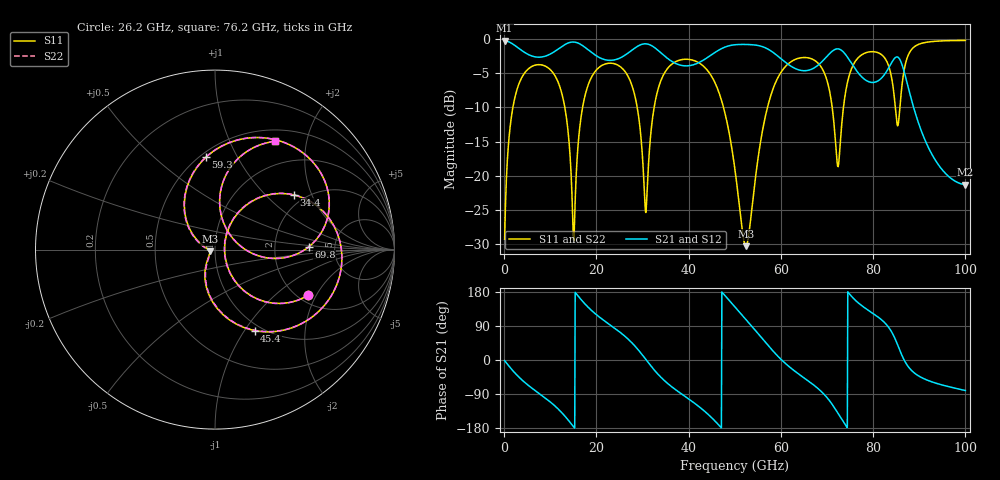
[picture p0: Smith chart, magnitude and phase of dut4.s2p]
! Touchstone file exported from HFSS 2026.1.0
!  File:  C:/ffzhzh/LocalFiles/Ansys_Project_Files/temp_train_TSV_RDL_4_1783611487_29156.aedt
!  Generated:  11:46:29 PM Jul  9, 2026
!  Design:  TSV_RDL
!  Project:  temp_train_TSV_RDL_4_1783611487_29156
! Variables:
!  h_bsmrdl = 2.89um
!  h_ox = 20um
!  h_rdl = 5um
!  h_sub = 83.83um
!  h_tmrdl = 4.26um
!  h_tsv = 83.83um
!  h_via = 3um
!  l_bsmrdl = 644.89um
!  l_sub = 3722.96um
!  l_tmrdl = 328.33um
!  m_sub = 200um
!  pitch = 57.4um
!  r_tsv = 12.32um
!  s_tmrdl = 10um
!  w_bsmrdl = 11.63um
!  w_sub = 500um
!  w_tmrdl = 13.36um
!  x_tsv_center1 = 335.01um
!  x_tsv_center2 = 991.53um
!  x_tsv_center3 = 1333.22um
!  x_tsv_center4 = 1989.74um
!  x_tsv_center5 = 2331.43um
!  x_tsv_center6 = 2987.95um
# GHz S MA R 50.000000
! Terminal data exported
! Port[1] = TM_RDL1_1_T1
! Port[2] = TM_RDL5_1_T1
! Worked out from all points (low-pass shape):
!   1000 points, 100 MHz to 100 GHz, reference 50 ohm
!   highest |S21| = -0.26 dB at 100 MHz (marker M1); lowest = -21.3 dB at 100 GHz (marker M2)
!   |S21| within 3 dB of the highest: start of sweep to 36.28 GHz; 42.8 GHz to 60.69 GHz (17.89 GHz wide, 34.6 % of centre) (the widest 2 of 4)
!   lowest |S11| = -30.3 dB at 52.4 GHz (marker M3), VSWR 1.06, Z = 47.2 - j0.98 ohm
!   |S11| at or under -10 dB: 13.15 GHz to 17 GHz (3.853 GHz wide, 25.6 % of centre); 28.85 GHz to 32.52 GHz (3.675 GHz wide, 12 % of centre); 47.55 GHz to 57.09 GHz (9.54 GHz wide, 18.2 % of centre) (the widest 3 of 6)
!   |S22| runs from -30.1 to -0.2 dB; largest |S21 - S12| = 1.8e-14
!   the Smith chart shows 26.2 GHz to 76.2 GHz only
!   S11 on the Smith chart (normalised r, x): 26.2 GHz: 2.26, -1.72; 34.4 GHz: 1.76, +1.49; 45.4 GHz: 0.92, -1.11; 59.3 GHz: 0.54, +0.75; 69.8 GHz: 3.17, +0.13; 76.2 GHz: 0.65, +1.50
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0.1  0.03441 31.6  0.971 -1.6  0.971 -1.6  0.03441 31.6
! Gamma 0 0 0 0
! Port Impedance 50 0 50 0
2.9  0.4387 44.5  0.8672 -41.4  0.8672 -41.4  0.4387 44.5
10.2  0.5867 -22.9  0.7814 -112.7  0.7814 -112.7  0.5867 -22.9
13.2  0.3096 -54.8  0.9099 -148.6  0.9099 -148.6  0.3096 -54.9
15  0.03547 -19.1  0.949 -175.4  0.949 -175.4  0.03516 -19.4
16.8  0.2873 60.3  0.9027 157.7  0.9027 157.7  0.2872 60.4
26.2  0.5782 -26.0  0.7605 62.5  0.7605 62.5  0.5781 -26.0
30.7  0.0539 1.5  0.9206 1.8  0.9206 1.8  0.05225 1.7
33.4  0.4327 45.1  0.823 -38.1  0.823 -38.1  0.4326 45.3
34.4  0.5342 34.7  0.7692 -50.4  0.7692 -50.4  0.5342 34.9
39.6  0.7103 -10.1  0.6353 -99.4  0.6353 -99.4  0.7105 -10.0
45.4  0.5021 -63.9  0.7837 -157.2  0.7837 -157.2  0.5025 -63.6
50.1  0.1071 -118.9  0.9067 138.9  0.9067 138.9  0.1081 -117.1
52.4  0.03064 -160.2  0.9107 107.0  0.9107 107.0  0.03117 -153.9
59.3  0.5173 95.5  0.7508 10.6  0.7508 10.6  0.5172 95.7
66.7  0.7144 29.3  0.6017 -62.1  0.6017 -62.1  0.7144 29.3
69.8  0.5216 1.6  0.734 -96.3  0.734 -96.3  0.5216 1.6
72.4  0.1166 40.7  0.8456 -141.3  0.8456 -141.3  0.1169 40.7
76.2  0.6906 60.9  0.5985 157.0  0.5985 157.0  0.6906 60.9
83.4  0.6292 6.6  0.6171 85.6  0.6171 85.6  0.6291 6.6
86  0.3768 69.1  0.6841 19.1  0.6841 19.1  0.3762 69.2
100  0.9742 8.9  0.08608 -80.6  0.08608 -80.6  0.9742 9.0
